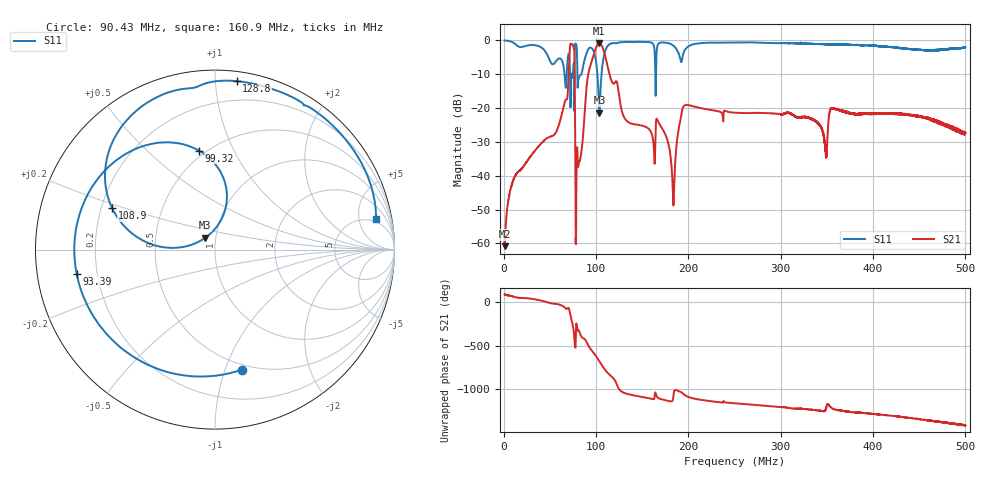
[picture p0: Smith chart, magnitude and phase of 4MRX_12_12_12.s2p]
! NanoVNA-App
! Date: 2026-08-19 14:32:10
! Start: 1MHz Stop: 500MHz Points: 6401
! S-Parameter data: F S11 S21 S12 S22
# Hz S RI R 50
!  Frequency  S11_Real  S11_Imag  S21_Real  S21_Imag  S12_Real  S12_Imag  S22_Real  S22_Imag
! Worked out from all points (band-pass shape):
!   6401 points, 1 MHz to 500 MHz, reference 50 ohm
!   highest |S21| = -0.86 dB at 103.5 MHz (marker M1); lowest = -60.8 dB at 1.078 MHz (marker M2)
!   |S21| within 3 dB of the highest: 71.34 MHz to 76.61 MHz (5.271 MHz wide, 7.13 % of centre); 97.88 MHz to 109.2 MHz (11.35 MHz wide, 11 % of centre)
!   lowest |S11| = -21.4 dB at 103.7 MHz (marker M3), VSWR 1.19, Z = 44.5 + j5.94 ohm
!   |S11| at or under -10 dB: 65.91 MHz to 68.26 MHz (2.354 MHz wide, 3.51 % of centre); 79.75 MHz to 84.1 MHz (4.347 MHz wide, 5.31 % of centre); 101.5 MHz to 105.9 MHz (4.473 MHz wide, 4.31 % of centre)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
!   S12 and S22 are empty: the file has one direction only
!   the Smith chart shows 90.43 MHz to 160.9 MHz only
!   S11 on the Smith chart (normalised r, x): 90.43 MHz: 0.45, -1.14; 93.39 MHz: 0.12, -0.08; 99.32 MHz: 0.46, +0.74; 108.9 MHz: 0.24, +0.18; 128.8 MHz: 0.06, +1.13; 160.9 MHz: 4.05, +8.56
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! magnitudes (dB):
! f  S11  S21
! 1 MHz  0.0  -58.1
! 1.078 MHz  0.0  -60.8
! 12.23 MHz  -1.0  -40.1
! 58.77 MHz  -5.5  -25.8
! 73.82 MHz  -9.8  -1.2
! 79.75 MHz  -9.9  -32.2
! 84.19 MHz  -9.9  -32.8
! 90.43 MHz  -3.3  -12.1
! 93.39 MHz  -2.1  -7.9
! 99.32 MHz  -5.1  -2.6
! 103.5 MHz  -20.9  -0.9
! 103.7 MHz  -21.4  -0.9
! 108.9 MHz  -4.2  -3.5
! 128.8 MHz  -0.5  -21.6
! 160.9 MHz  -0.8  -28.1
! 167.4 MHz  -1.0  -24.0
! 183.5 MHz  -1.5  -47.4
! 195.8 MHz  -3.0  -19.2
! 250.5 MHz  -0.6  -21.3
! 333.7 MHz  -1.0  -23.2
! 416.9 MHz  -2.0  -21.6
! 500 MHz  -2.0  -27.2
